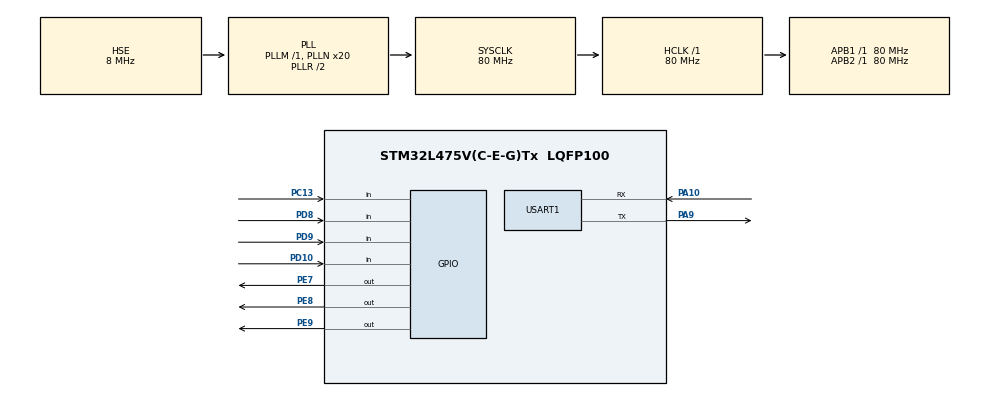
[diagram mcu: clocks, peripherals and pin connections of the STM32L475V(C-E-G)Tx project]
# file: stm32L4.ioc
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Dma.Request0=USART1_RX
Dma.USART1_RX.0.Direction=DMA_PERIPH_TO_MEMORY
Dma.USART1_RX.0.Instance=DMA1_Channel5
Dma.USART1_RX.0.MemDataAlignment=DMA_MDATAALIGN_BYTE
Dma.USART1_RX.0.MemInc=DMA_MINC_ENABLE
Dma.USART1_RX.0.Mode=DMA_NORMAL
Dma.USART1_RX.0.PeriphDataAlignment=DMA_PDATAALIGN_BYTE
Dma.USART1_RX.0.PeriphInc=DMA_PINC_DISABLE
Dma.USART1_RX.0.Priority=DMA_PRIORITY_LOW
Mcu.Family=STM32L4
Mcu.Name=STM32L475V(C-E-G)Tx
Mcu.Package=LQFP100
NVIC.DMA1_Channel5_IRQn=true\:0\:0\:false\:false\:true\:false
NVIC.PriorityGroup=NVIC_PRIORITYGROUP_4
NVIC.USART1_IRQn=true\:0\:0\:false\:false\:true\:true
PA10.Mode=Asynchronous
PA10.Signal=USART1_RX
PA13\ (JTMS-SWDIO).Mode=Serial_Wire
PA13\ (JTMS-SWDIO).Signal=SYS_JTMS-SWDIO
PA14\ (JTCK-SWCLK).Mode=Serial_Wire
PA14\ (JTCK-SWCLK).Signal=SYS_JTCK-SWCLK
PA9.Mode=Asynchronous
PA9.Signal=USART1_TX
PC13.GPIO_PuPd=GPIO_PULLDOWN
PC13.Signal=GPIO_Input
PD10.GPIO_PuPd=GPIO_PULLUP
PD10.Signal=GPIO_Input
PD8.GPIO_PuPd=GPIO_PULLDOWN
PD8.Signal=GPIO_Input
PD9.GPIO_PuPd=GPIO_PULLUP
PD9.Signal=GPIO_Input
PE7.GPIO_Speed=GPIO_SPEED_FREQ_HIGH
PE7.PinState=GPIO_PIN_SET
PE7.Signal=GPIO_Output
PE8.GPIO_Speed=GPIO_SPEED_FREQ_HIGH
PE8.PinState=GPIO_PIN_SET
PE8.Signal=GPIO_Output
PE9.GPIO_Speed=GPIO_SPEED_FREQ_HIGH
PE9.PinState=GPIO_PIN_SET
PE9.Signal=GPIO_Output
PH0-OSC_IN\ (PH0).Mode=HSE-External-Clock-Source
PH0-OSC_IN\ (PH0).Signal=RCC_OSC_IN
ProjectManager.HeapSize=0x200
ProjectManager.StackSize=0x400
ProjectManager.TargetToolchain=MDK-ARM V5
RCC.ADCFreq_Value=32000000
RCC.AHBFreq_Value=80000000
RCC.APB1Freq_Value=80000000
RCC.APB1TimFreq_Value=80000000
RCC.APB2Freq_Value=80000000
RCC.APB2TimFreq_Value=80000000
RCC.CortexFreq_Value=80000000
RCC.HCLKFreq_Value=80000000
RCC.HSE_VALUE=8000000
RCC.HSI_VALUE=16000000
RCC.LSE_VALUE=32768
RCC.MSI_VALUE=4000000
RCC.PLLN=20
RCC.PLLSourceVirtual=RCC_PLLSOURCE_HSE
RCC.SYSCLKFreq_VALUE=80000000
RCC.SYSCLKSource=RCC_SYSCLKSOURCE_PLLCLK
RCC.USBFreq_Value=32000000
RCC.VCOOutputFreq_Value=160000000
USART1.VirtualMode-Asynchronous=VM_ASYNC
board=custom

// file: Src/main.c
/* USER CODE BEGIN Header */
/**
  ******************************************************************************
  * @file           : main.c
  * @brief          : Main program body
  ******************************************************************************
  ** This notice applies to any and all portions of this file
  * that are not between comment pairs USER CODE BEGIN and
  * USER CODE END. Other portions of this file, whether
  * inserted by the user or by software development tools
  * are owned by their respective copyright owners.
  *
  * COPYRIGHT(c) 2019 STMicroelectronics
  *
  * Redistribution and use in source and binary forms, with or without modification,
  * are permitted provided that the following conditions are met:
  *   1. Redistributions of source code must retain the above copyright notice,
  *      this list of conditions and the following disclaimer.
  *   2. Redistributions in binary form must reproduce the above copyright notice,
  *      this list of conditions and the following disclaimer in the documentation
  *      and/or other materials provided with the distribution.
  *   3. Neither the name of STMicroelectronics nor the names of its contributors
  *      may be used to endorse or promote products derived from this software
  *      without specific prior written permission.
  *
  * THIS SOFTWARE IS PROVIDED BY THE COPYRIGHT HOLDERS AND CONTRIBUTORS "AS IS"
  * AND ANY EXPRESS OR IMPLIED WARRANTIES, INCLUDING, BUT NOT LIMITED TO, THE
  * IMPLIED WARRANTIES OF MERCHANTABILITY AND FITNESS FOR A PARTICULAR PURPOSE ARE
  * DISCLAIMED. IN NO EVENT SHALL THE COPYRIGHT HOLDER OR CONTRIBUTORS BE LIABLE
  * FOR ANY DIRECT, INDIRECT, INCIDENTAL, SPECIAL, EXEMPLARY, OR CONSEQUENTIAL
  * DAMAGES (INCLUDING, BUT NOT LIMITED TO, PROCUREMENT OF SUBSTITUTE GOODS OR
  * SERVICES; LOSS OF USE, DATA, OR PROFITS; OR BUSINESS INTERRUPTION) HOWEVER
  * CAUSED AND ON ANY THEORY OF LIABILITY, WHETHER IN CONTRACT, STRICT LIABILITY,
  * OR TORT (INCLUDING NEGLIGENCE OR OTHERWISE) ARISING IN ANY WAY OUT OF THE USE
  * OF THIS SOFTWARE, EVEN IF ADVISED OF THE POSSIBILITY OF SUCH DAMAGE.
  *
  ******************************************************************************
  */
/* USER CODE END Header */

#include "main.h"
#include "dma.h"
#include "usart.h"
#include "gpio.h"

/* USER CODE BEGIN Includes */
#include "led.h"
#include "multi_button.h"
#include "button.h"
#include "uart.h"
#include "stdio.h"
/* USER CODE END Includes */

void SystemClock_Config(void);

int main(void)
{
  /* USER CODE BEGIN 1 */
	uint8_t UgetMessage[1025]={0};
  /* USER CODE END 1 */

  /* MCU Configuration--------------------------------------------------------*/

  /* Reset of all peripherals, Initializes the Flash interface and the Systick. */
  HAL_Init();

  /* Configure the system clock */
  SystemClock_Config();

  /* Initialize all configured peripherals */
  MX_GPIO_Init();
  MX_DMA_Init();
  MX_USART1_UART_Init();
  /* USER CODE BEGIN 2 */
	useMultiButton();

	//UMessageInit();
	__HAL_UART_ENABLE_IT(&huart1, UART_IT_IDLE);    //??????
  HAL_UART_Receive_DMA(&huart1,USART_RxBuffer,Buffer_Size);	//????DMA??,???????,???????
  /* USER CODE END 2 */

  /* Infinite loop */
  /* USER CODE BEGIN WHILE */
  while (1)
  {
		HAL_Delay(5);
		button_ticks();
    /* USER CODE END WHILE */

    /* USER CODE BEGIN 3 */
			if(USART_Rx_OK == 1)		//????????
			{
								int i=0;
                //printf("%d",USART_Buffer_index);   //??????????
                for( i=0;i<USART_Buffer_index;i++)
                {
									printf("%c",USART_RxBuffer[i]);		//??????
                }
                for(i=0;i<Buffer_Size;i++)			//?????,?????????????,?????
								{
									USART_RxBuffer[i] = 0;
								}
								USART_Buffer_index = 0;
                USART_Rx_OK = 0;
			}
			HAL_UART_Receive_DMA(&huart1,USART_RxBuffer,Buffer_Size);	//????DMA??,???????????

  }
  /* USER CODE END 3 */
}

void SystemClock_Config(void)
{
  RCC_OscInitTypeDef RCC_OscInitStruct = {0};
  RCC_ClkInitTypeDef RCC_ClkInitStruct = {0};
  RCC_PeriphCLKInitTypeDef PeriphClkInit = {0};

  /**Initializes the CPU, AHB and APB busses clocks
  */
  RCC_OscInitStruct.OscillatorType = RCC_OSCILLATORTYPE_HSE;
  RCC_OscInitStruct.HSEState = RCC_HSE_BYPASS;
  RCC_OscInitStruct.PLL.PLLState = RCC_PLL_ON;
  RCC_OscInitStruct.PLL.PLLSource = RCC_PLLSOURCE_HSE;
  RCC_OscInitStruct.PLL.PLLM = 1;
  RCC_OscInitStruct.PLL.PLLN = 20;
  RCC_OscInitStruct.PLL.PLLP = RCC_PLLP_DIV7;
  RCC_OscInitStruct.PLL.PLLQ = RCC_PLLQ_DIV2;
  RCC_OscInitStruct.PLL.PLLR = RCC_PLLR_DIV2;
  if (HAL_RCC_OscConfig(&RCC_OscInitStruct) != HAL_OK)
  {
    Error_Handler();
  }
  /**Initializes the CPU, AHB and APB busses clocks
  */
  RCC_ClkInitStruct.ClockType = RCC_CLOCKTYPE_HCLK|RCC_CLOCKTYPE_SYSCLK
                              |RCC_CLOCKTYPE_PCLK1|RCC_CLOCKTYPE_PCLK2;
  RCC_ClkInitStruct.SYSCLKSource = RCC_SYSCLKSOURCE_PLLCLK;
  RCC_ClkInitStruct.AHBCLKDivider = RCC_SYSCLK_DIV1;
  RCC_ClkInitStruct.APB1CLKDivider = RCC_HCLK_DIV1;
  RCC_ClkInitStruct.APB2CLKDivider = RCC_HCLK_DIV1;

  if (HAL_RCC_ClockConfig(&RCC_ClkInitStruct, FLASH_LATENCY_4) != HAL_OK)
  {
    Error_Handler();
  }
  PeriphClkInit.PeriphClockSelection = RCC_PERIPHCLK_USART1;
  PeriphClkInit.Usart1ClockSelection = RCC_USART1CLKSOURCE_PCLK2;
  if (HAL_RCCEx_PeriphCLKConfig(&PeriphClkInit) != HAL_OK)
  {
    Error_Handler();
  }
  /**Configure the main internal regulator output voltage
  */
  if (HAL_PWREx_ControlVoltageScaling(PWR_REGULATOR_VOLTAGE_SCALE1) != HAL_OK)
  {
    Error_Handler();
  }
}

void Error_Handler(void)
{
}

/************************ (C) COPYRIGHT STMicroelectronics *****END OF FILE****/
